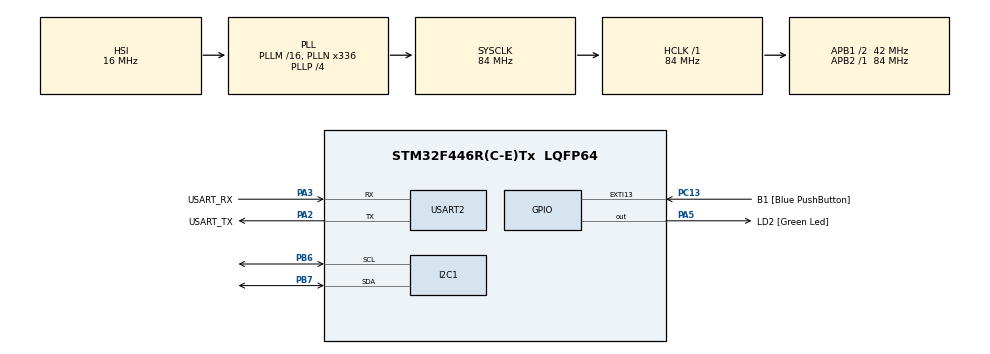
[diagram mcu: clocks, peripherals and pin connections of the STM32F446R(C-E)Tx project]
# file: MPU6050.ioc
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Mcu.Family=STM32F4
Mcu.Name=STM32F446R(C-E)Tx
Mcu.Package=LQFP64
NVIC.PriorityGroup=NVIC_PRIORITYGROUP_0
PA13.GPIO_Label=TMS
PA13.Mode=Serial_Wire
PA13.Signal=SYS_JTMS-SWDIO
PA14.GPIO_Label=TCK
PA14.Mode=Serial_Wire
PA14.Signal=SYS_JTCK-SWCLK
PA2.GPIO_Label=USART_TX
PA2.Mode=Asynchronous
PA2.Signal=USART2_TX
PA3.GPIO_Label=USART_RX
PA3.Mode=Asynchronous
PA3.Signal=USART2_RX
PA5.GPIO_Label=LD2 [Green Led]
PA5.Signal=GPIO_Output
PB3.GPIO_Label=SWO
PB3.Signal=SYS_JTDO-SWO
PB6.Mode=I2C
PB6.Signal=I2C1_SCL
PB7.Mode=I2C
PB7.Signal=I2C1_SDA
PC13.GPIO_Label=B1 [Blue PushButton]
PC13.GPIO_ModeDefaultEXTI=GPIO_MODE_IT_FALLING
PC13.Signal=GPXTI13
PC14-OSC32_IN.Mode=LSE-External-Oscillator
PC14-OSC32_IN.Signal=RCC_OSC32_IN
PC15-OSC32_OUT.Mode=LSE-External-Oscillator
PC15-OSC32_OUT.Signal=RCC_OSC32_OUT
PH0-OSC_IN.Mode=HSE-External-Oscillator
PH0-OSC_IN.Signal=RCC_OSC_IN
PH1-OSC_OUT.Mode=HSE-External-Oscillator
PH1-OSC_OUT.Signal=RCC_OSC_OUT
ProjectManager.HeapSize=0x200
ProjectManager.StackSize=0x400
ProjectManager.TargetToolchain=STM32CubeIDE
RCC.48MHZClocksFreq_Value=84000000
RCC.AHBFreq_Value=84000000
RCC.APB1CLKDivider=RCC_HCLK_DIV2
RCC.APB1Freq_Value=42000000
RCC.APB1TimFreq_Value=84000000
RCC.APB2Freq_Value=84000000
RCC.APB2TimFreq_Value=84000000
RCC.CortexFreq_Value=84000000
RCC.FLatency-AdvancedSettings=FLASH_LATENCY_2
RCC.HCLKFreq_Value=84000000
RCC.HSE_VALUE=8000000
RCC.HSI_VALUE=16000000
RCC.PLLN=336
RCC.PLLP=RCC_PLLP_DIV4
RCC.SYSCLKFreq_VALUE=84000000
RCC.SYSCLKSource=RCC_SYSCLKSOURCE_PLLCLK
RCC.USBFreq_Value=168000000
RCC.VCOOutputFreq_Value=336000000
USART2.VirtualMode=VM_ASYNC
board=NUCLEO-F446RE

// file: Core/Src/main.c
	/* USER CODE BEGIN Header */
/**
  ******************************************************************************
  * @file           : main.c
  * @brief          : Main program body
  ******************************************************************************
  * @attention
  *
  * Copyright (c) 2025 STMicroelectronics.
  * All rights reserved.
  *
  * This software is licensed under terms that can be found in the LICENSE file
  * in the root directory of this software component.
  * If no LICENSE file comes with this software, it is provided AS-IS.
  *
  ******************************************************************************
  */
/* USER CODE END Header */
#include "main.h"

/* USER CODE BEGIN Includes */
#include <math.h>
#include <string.h>
#include <stdio.h>
#include "MPU6050.h"
/* USER CODE END Includes */

/* USER CODE BEGIN PD */

//#define MPU6050 0x68 << 1
//#define PWR_MGMT_1_REG   0x6B
//#define WHO_AM_I_REG     0x75
//#define Gyro_reg 0x1B
//#define Accel_reg 0x1C
//#define ACCEL_XOUT_H_REG 0x3B
//#define GYRO_XOUT_H_REG  0x43
/* USER CODE END PD */

I2C_HandleTypeDef hi2c1;

UART_HandleTypeDef huart2;

void SystemClock_Config(void);
static void MX_GPIO_Init(void);
static void MX_USART2_UART_Init(void);
static void MX_I2C1_Init(void);
/* USER CODE BEGIN PFP */
//void MPU6050_init();
//void MPU6050_ReadAccel(int16_t *accel_data);
//void MPU6050_ReadGyro(int16_t *gyro_data);
//void Callibrate_Accel(int16_t *offset);
//void Callibrate_Gyro(int16_t *offset);
//void Update_Gyro(float *Gx, float *Gy, float *Gz);
/* USER CODE END PFP */

int main(void)
{

  /* USER CODE BEGIN 1 */
	char msg[100];
	  uint32_t last_time;
	  int16_t Accel_raw[3], Gyro_raw[3];
	  int16_t accel_offset[3] = {0}, gyro_offset[3] = {0};
	  float pitch = 0, roll = 0, yaw = 0;

  /* USER CODE END 1 */

  /* MCU Configuration--------------------------------------------------------*/

  /* Reset of all peripherals, Initializes the Flash interface and the Systick. */
  HAL_Init();

  /* Configure the system clock */
  SystemClock_Config();

  /* Initialize all configured peripherals */
  MX_GPIO_Init();
  MX_USART2_UART_Init();
  MX_I2C1_Init();
//  /* USER CODE BEGIN 2 */

  sprintf(msg, "Started\r\n");
  HAL_UART_Transmit(&huart2, (uint8_t*)msg, strlen(msg), HAL_MAX_DELAY);

  MPU6050_init();
  Callibrate_Accel(accel_offset);
  Callibrate_Gyro(gyro_offset);

  accel_offset[2] = accel_offset[2] - 8192;
  last_time = HAL_GetTick();
  /* USER CODE END 2 */
  /* Infinite loop */
  /* USER CODE BEGIN WHILE */
  while (1)
  {
	  uint32_t current_time = HAL_GetTick();
	  float dt = (current_time - last_time) / 1000.0f;
	  if (dt <= 0) dt = 0.001f; // Prevent division by zero or negative dt
	  last_time = current_time;

	  MPU6050_ReadAccel(Accel_raw);
	  MPU6050_ReadGyro(Gyro_raw);

	  MPU6050_GetAngles(Accel_raw, Gyro_raw, &pitch, &roll, &yaw, dt);

      static uint32_t print_timer = 0;
      if (HAL_GetTick() - print_timer > 100) {
          sprintf(msg, "Pitch:%.2f Roll:%.2f Yaw:%.2f \r\n",
                  pitch, roll, yaw);
          HAL_UART_Transmit(&huart2, (uint8_t*)msg, strlen(msg), 10);
          print_timer = HAL_GetTick();
      }

      HAL_Delay(10); // 100Hz update rate for better integration
      HAL_GPIO_TogglePin(GPIOA, GPIO_PIN_5);

      /* USER CODE END WHILE */

  }
}

void SystemClock_Config(void)
{
  RCC_OscInitTypeDef RCC_OscInitStruct = {0};
  RCC_ClkInitTypeDef RCC_ClkInitStruct = {0};

  /** Configure the main internal regulator output voltage
  */
  __HAL_RCC_PWR_CLK_ENABLE();
  __HAL_PWR_VOLTAGESCALING_CONFIG(PWR_REGULATOR_VOLTAGE_SCALE3);

  /** Initializes the RCC Oscillators according to the specified parameters
  * in the RCC_OscInitTypeDef structure.
  */
  RCC_OscInitStruct.OscillatorType = RCC_OSCILLATORTYPE_HSI;
  RCC_OscInitStruct.HSIState = RCC_HSI_ON;
  RCC_OscInitStruct.HSICalibrationValue = RCC_HSICALIBRATION_DEFAULT;
  RCC_OscInitStruct.PLL.PLLState = RCC_PLL_ON;
  RCC_OscInitStruct.PLL.PLLSource = RCC_PLLSOURCE_HSI;
  RCC_OscInitStruct.PLL.PLLM = 16;
  RCC_OscInitStruct.PLL.PLLN = 336;
  RCC_OscInitStruct.PLL.PLLP = RCC_PLLP_DIV4;
  RCC_OscInitStruct.PLL.PLLQ = 2;
  RCC_OscInitStruct.PLL.PLLR = 2;
  if (HAL_RCC_OscConfig(&RCC_OscInitStruct) != HAL_OK)
  {
    Error_Handler();
  }

  /** Initializes the CPU, AHB and APB buses clocks
  */
  RCC_ClkInitStruct.ClockType = RCC_CLOCKTYPE_HCLK|RCC_CLOCKTYPE_SYSCLK
                              |RCC_CLOCKTYPE_PCLK1|RCC_CLOCKTYPE_PCLK2;
  RCC_ClkInitStruct.SYSCLKSource = RCC_SYSCLKSOURCE_PLLCLK;
  RCC_ClkInitStruct.AHBCLKDivider = RCC_SYSCLK_DIV1;
  RCC_ClkInitStruct.APB1CLKDivider = RCC_HCLK_DIV2;
  RCC_ClkInitStruct.APB2CLKDivider = RCC_HCLK_DIV1;

  if (HAL_RCC_ClockConfig(&RCC_ClkInitStruct, FLASH_LATENCY_2) != HAL_OK)
  {
    Error_Handler();
  }
}

static void MX_I2C1_Init(void)
{

  hi2c1.Instance = I2C1;
  hi2c1.Init.ClockSpeed = 100000;
  hi2c1.Init.DutyCycle = I2C_DUTYCYCLE_2;
  hi2c1.Init.OwnAddress1 = 0;
  hi2c1.Init.AddressingMode = I2C_ADDRESSINGMODE_7BIT;
  hi2c1.Init.DualAddressMode = I2C_DUALADDRESS_DISABLE;
  hi2c1.Init.OwnAddress2 = 0;
  hi2c1.Init.GeneralCallMode = I2C_GENERALCALL_DISABLE;
  hi2c1.Init.NoStretchMode = I2C_NOSTRETCH_DISABLE;
  if (HAL_I2C_Init(&hi2c1) != HAL_OK)
  {
    Error_Handler();
  }

}

static void MX_USART2_UART_Init(void)
{

  huart2.Instance = USART2;
  huart2.Init.BaudRate = 115200;
  huart2.Init.WordLength = UART_WORDLENGTH_8B;
  huart2.Init.StopBits = UART_STOPBITS_1;
  huart2.Init.Parity = UART_PARITY_NONE;
  huart2.Init.Mode = UART_MODE_TX_RX;
  huart2.Init.HwFlowCtl = UART_HWCONTROL_NONE;
  huart2.Init.OverSampling = UART_OVERSAMPLING_16;
  if (HAL_UART_Init(&huart2) != HAL_OK)
  {
    Error_Handler();
  }

}

static void MX_GPIO_Init(void)
{
  GPIO_InitTypeDef GPIO_InitStruct = {0};

  /* GPIO Ports Clock Enable */
  __HAL_RCC_GPIOC_CLK_ENABLE();
  __HAL_RCC_GPIOH_CLK_ENABLE();
  __HAL_RCC_GPIOA_CLK_ENABLE();
  __HAL_RCC_GPIOB_CLK_ENABLE();

  /*Configure GPIO pin Output Level */
  HAL_GPIO_WritePin(LD2_GPIO_Port, LD2_Pin, GPIO_PIN_RESET);

  /*Configure GPIO pin : B1_Pin */
  GPIO_InitStruct.Pin = B1_Pin;
  GPIO_InitStruct.Mode = GPIO_MODE_IT_FALLING;
  GPIO_InitStruct.Pull = GPIO_NOPULL;
  HAL_GPIO_Init(B1_GPIO_Port, &GPIO_InitStruct);

  /*Configure GPIO pin : LD2_Pin */
  GPIO_InitStruct.Pin = LD2_Pin;
  GPIO_InitStruct.Mode = GPIO_MODE_OUTPUT_PP;
  GPIO_InitStruct.Pull = GPIO_NOPULL;
  GPIO_InitStruct.Speed = GPIO_SPEED_FREQ_LOW;
  HAL_GPIO_Init(LD2_GPIO_Port, &GPIO_InitStruct);

}

/* USER CODE BEGIN 4 */
//void MPU6050_init()
//{
//	uint8_t data;
//
//	data = 0x00;
//	HAL_I2C_Mem_Write(&hi2c1, MPU6050, 0x6B, 1, &data, 1, HAL_MAX_DELAY);
//
//	data = 0x08;
//	HAL_I2C_Mem_Write(&hi2c1, MPU6050, Accel_reg, 1, &data, 1, HAL_MAX_DELAY);
//
//	data = 0x08;
//    HAL_I2C_Mem_Write(&hi2c1, MPU6050, Gyro_reg, 1, &data, 1, HAL_MAX_DELAY);
//}

//void MPU6050_ReadAccel(int16_t *accel_data)
//{
//	uint8_t rec_data[6];
//	HAL_I2C_Mem_Read(&hi2c1, MPU6050, 0x3B, 1, rec_data, 6, HAL_MAX_DELAY);
//
//    accel_data[0] = (int16_t)(rec_data[0] << 8 | rec_data[1]);
//    accel_data[1] = (int16_t)(rec_data[2] << 8 | rec_data[3]);
//    accel_data[2] = (int16_t)(rec_data[4] << 8 | rec_data[5]);
//}
//
//void MPU6050_ReadGyro(int16_t *gyro_data)
//{
//    uint8_t Rec_Data[6];
//    HAL_I2C_Mem_Read(&hi2c1, MPU6050, 0x43, 1, Rec_Data, 6, 1000); // GYRO_XOUT_H
//
//    gyro_data[0] = (int16_t)(Rec_Data[0] << 8 | Rec_Data[1]);
//    gyro_data[1] = (int16_t)(Rec_Data[2] << 8 | Rec_Data[3]);
//    gyro_data[2] = (int16_t)(Rec_Data[4] << 8 | Rec_Data[5]);
//}
//
//void Callibrate_Accel(int16_t *offset)
//{
//	char msg[25];
//	sprintf(msg, "Callibrating Accel\r\n");
//	HAL_UART_Transmit(&huart2, (uint8_t*)msg, strlen(msg), HAL_MAX_DELAY);
//
//	int32_t sum[3] = {0};
//	int16_t data[3];
//	int16_t i = 0;
//	for (i = 0; i < 2000; i++)
//	{
//		MPU6050_ReadAccel(data);
//		sum[0] += data[0];
//		sum[1] += data[1];
//		sum[2] += data[2];
//		HAL_Delay(2);
//	}
//
//	offset[0] = sum[0] / 2000;
//	offset[1] = sum[1] / 2000;
//	offset[2] = sum[2] / 2000;
//}
//
//void Callibrate_Gyro(int16_t *offset)
//{
//	char msg[20];
//	sprintf(msg, "Callibrating Gyro\r\n");
//	HAL_UART_Transmit(&huart2, (uint8_t*)msg, strlen(msg), HAL_MAX_DELAY);
//
//	int32_t sum[3] = {0};
//	int16_t data[3];
//	int16_t i = 0;
//	for (i = 0; i < 2000; i++)
//	{
//		MPU6050_ReadGyro(data);
//		sum[0] += data[0];
//		sum[1] += data[1];
//		sum[2] += data[2];
//		HAL_Delay(2);
//	}
//
//	offset[0] = sum[0] / 2000;
//	offset[1] = sum[1] / 2000;
//	offset[2] = sum[2] / 2000;
//}
//
//void Update_Gyro(float *Gx, float *Gy, float *Gz)
//{
//	float gyro_deadband = 0.8;
//
//	if(fabs(*Gx) < gyro_deadband) *Gx = 0;
//	if(fabs(*Gy) < gyro_deadband) *Gy = 0;
//	if(fabs(*Gz) < gyro_deadband) *Gz = 0;
//}

/* USER CODE END 4 */

void Error_Handler(void)
{
  __disable_irq();
  while (1)
  {
  }
}
